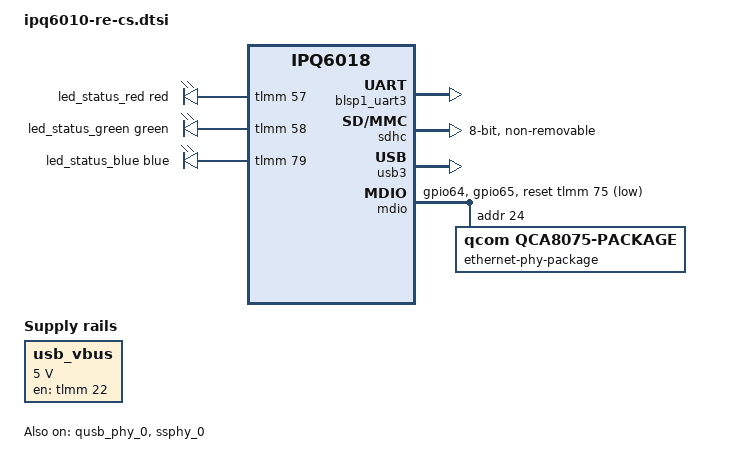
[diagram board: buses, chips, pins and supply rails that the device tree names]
// SPDX-License-Identifier: GPL-2.0-or-later OR MIT

#include "ipq6018.dtsi"
#include "ipq6018-ess.dtsi"

#include <dt-bindings/gpio/gpio.h>
#include <dt-bindings/input/input.h>
#include <dt-bindings/leds/common.h>

/ {
	aliases {
		led-boot = &led_status_red;
		led-failsafe = &led_status_red;
		led-running = &led_status_green;
		led-upgrade = &led_status_blue;
	};

	chosen {
		stdout-path = "serial0:115200n8";
	};

	leds {
		compatible = "gpio-leds";

		led_status_red: red {
			color = <LED_COLOR_ID_RED>;
			function = LED_FUNCTION_STATUS;
			gpios = <&tlmm 57 GPIO_ACTIVE_HIGH>;
		};

		led_status_green: green {
			color = <LED_COLOR_ID_GREEN>;
			function = LED_FUNCTION_STATUS;
			gpios = <&tlmm 58 GPIO_ACTIVE_HIGH>;
		};

		led_status_blue: blue {
			color = <LED_COLOR_ID_BLUE>;
			function = LED_FUNCTION_STATUS;
			gpios = <&tlmm 79 GPIO_ACTIVE_HIGH>;
		};
	};

	usb_vbus: regulator-usb-vbus {
		compatible = "regulator-fixed";
		regulator-name = "usb_vbus";
		regulator-min-microvolt = <5000000>;
		regulator-max-microvolt = <5000000>;
		gpios = <&tlmm 22 GPIO_ACTIVE_HIGH>;
		enable-active-high;
		regulator-boot-on;
	};
};

&tlmm {
	gpio-reserved-ranges = <20 1>;

	mdio_pins: mdio-pins {
		mdc {
			pins = "gpio64";
			function = "mdc";
			drive-strength = <8>;
			bias-pull-up;
		};

		mdio {
			pins = "gpio65";
			function = "mdio";
			drive-strength = <8>;
			bias-pull-up;
		};
	};
};

&blsp1_uart3 {
	pinctrl-0 = <&serial_3_pins>;
	pinctrl-names = "default";
	status = "okay";
};

&qusb_phy_0 {
	vdd-supply = <&usb_vbus>;
	status = "okay";
};

&rpm {
	status = "disabled";
};

&sdhc {
	bus-width = <8>;
	mmc-ddr-1_8v;
	mmc-hs200-1_8v;
	non-removable;
	status = "okay";
};

&ssphy_0 {
	status = "okay";
};

&usb3 {
	status = "okay";
};

&mdio {
	status = "okay";

	pinctrl-0 = <&mdio_pins>;
	pinctrl-names = "default";
	reset-gpios = <&tlmm 75 GPIO_ACTIVE_LOW>;

	ethernet-phy-package@24 {
		compatible = "qcom,qca8075-package";
		#address-cells = <1>;
		#size-cells = <0>;
		reg = <24>;

		qca8075_0: ethernet-phy@24 {
			compatible = "ethernet-phy-ieee802.3-c22";
			reg = <24>;
		};

		qca8075_1: ethernet-phy@25 {
			compatible = "ethernet-phy-ieee802.3-c22";
			reg = <25>;
		};

		qca8075_2: ethernet-phy@26 {
			compatible = "ethernet-phy-ieee802.3-c22";
			reg = <26>;
		};

		qca8075_3: ethernet-phy@27 {
			compatible = "ethernet-phy-ieee802.3-c22";
			reg = <27>;
		};
	};
};
